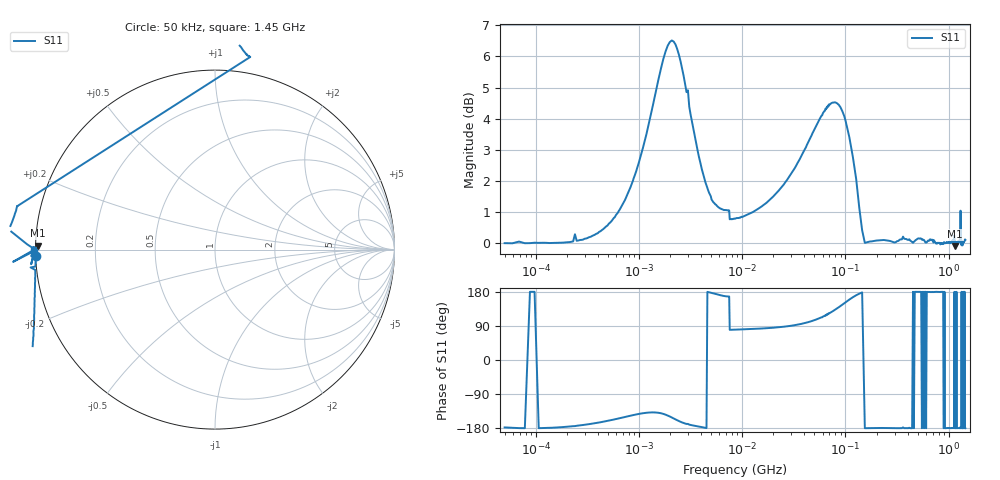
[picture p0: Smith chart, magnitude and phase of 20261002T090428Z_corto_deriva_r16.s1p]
! piloto_deriva / corto_deriva / r16
# HZ S RI R 50
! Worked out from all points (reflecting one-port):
!   501 points, 50 kHz to 1.45 GHz, reference 50 ohm
!   lowest |S11| = -0.1 dB at 1.157 GHz (marker M1), VSWR 162.61, Z = 0.308 + j0.556 ohm
!   phase of S11 starts at -178 deg and turns -2 deg over the sweep
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50000  -0.9982 -0.0365
183000  -0.9994 -0.0522
363500  -1.004 -0.2233
658000  -1.014 -0.5098
1180000  -1.133 -0.9751
1630000  -1.469 -1.213
1990000  -1.805 -1.082
2440000  -1.9 -0.648
2710000  -1.803 -0.4386
3250000  -1.557 -0.2158
4330000  -1.264 -0.0306
7300000  -1.102 0.2419
7750000  0.1944 1.075
8560000  0.1869 1.078
1.9e7  0.1094 1.173
3.16e7  -0.0349 1.313
4.6e7  -0.3026 1.448
6.67e7  -0.8112 1.438
7.93e7  -1.14 1.238
9.37e7  -1.355 0.8993
9.82e7  -1.385 0.7837
1e8  -1.391 0.7385
1.18e8  -1.331 0.3391
1.36e8  -1.135 0.1002
1.63e8  -1.003 -0.00348
4.06e8  -1.011 -0.00331
1.1575e9  -0.9875 0.022
1.45e9  -1.011 -0.00338
